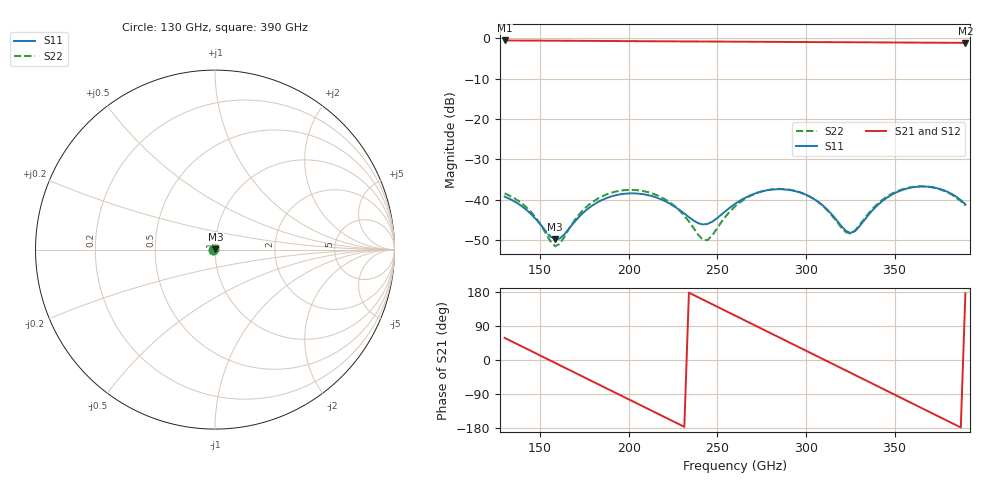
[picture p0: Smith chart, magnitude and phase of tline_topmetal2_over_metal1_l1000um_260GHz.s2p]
#  GHZ S DB R 50
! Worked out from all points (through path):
!   101 points, 130 GHz to 390 GHz, reference 50 ohm
!   highest |S21| = -0.59 dB at 130 GHz (marker M1); lowest = -1.2 dB at 390 GHz (marker M2)
!   group delay of S21, straight-line fit = 6.44 ps
!   lowest |S11| = -49.8 dB at 158.6 GHz (marker M3), VSWR 1.01, Z = 50.3 + j0.19 ohm
!   |S11| at or under -10 dB: start of sweep to end of sweep
!   |S22| runs from -51.4 to -36.7 dB; largest |S21 - S12| = 1.6e-13
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130  -39.21 -173.7  -0.59 58.4  -0.59 58.4  -38.39 -166.7
145.6  -43.80 128.5  -0.62 22.2  -0.62 22.2  -43.34 139.8
158.6  -49.79 35.6  -0.65 -7.9  -0.65 -7.9  -51.44 41.5
174.2  -43.25 -76.7  -0.69 -44.0  -0.69 -44.0  -42.54 -75.5
184.6  -40.11 -116.6  -0.72 -68.1  -0.72 -68.1  -39.21 -111.7
195  -38.65 -151.5  -0.75 -92.2  -0.75 -92.2  -37.75 -143.8
205.4  -38.45 174.7  -0.77 -116.2  -0.77 -116.2  -37.64 -174.9
218.4  -39.89 130.6  -0.80 -146.3  -0.80 -146.3  -39.35 145.4
231.4  -43.38 75.7  -0.83 -176.4  -0.83 -176.4  -43.90 97.8
241.8  -46.07 7.1  -0.85 159.5  -0.85 159.5  -49.84 22.9
260  -41.00 -103.0  -0.89 117.3  -0.89 117.3  -41.62 -107.3
270.4  -38.56 -141.4  -0.92 93.2  -0.92 93.2  -38.65 -142.4
280.8  -37.46 -175.0  -0.94 69.1  -0.94 69.1  -37.40 -174.0
293.8  -37.82 144.5  -0.97 39.0  -0.97 39.0  -37.75 147.1
304.2  -39.69 110.3  -1.00 14.9  -1.00 14.9  -39.71 113.6
314.6  -43.58 67.5  -1.02 -9.2  -1.02 -9.2  -43.82 70.7
325  -48.18 -12.9  -1.04 -33.3  -1.04 -33.3  -48.33 -13.6
338  -42.36 -108.7  -1.07 -63.4  -1.07 -63.4  -42.02 -106.3
348.4  -38.73 -147.6  -1.09 -87.6  -1.09 -87.6  -38.50 -144.3
358.8  -37.02 -179.5  -1.12 -111.7  -1.12 -111.7  -36.90 -176.0
371.8  -36.91 143.3  -1.15 -141.9  -1.15 -141.9  -36.94 146.3
390  -41.11 88.6  -1.19 175.9  -1.19 175.9  -41.40 88.3
